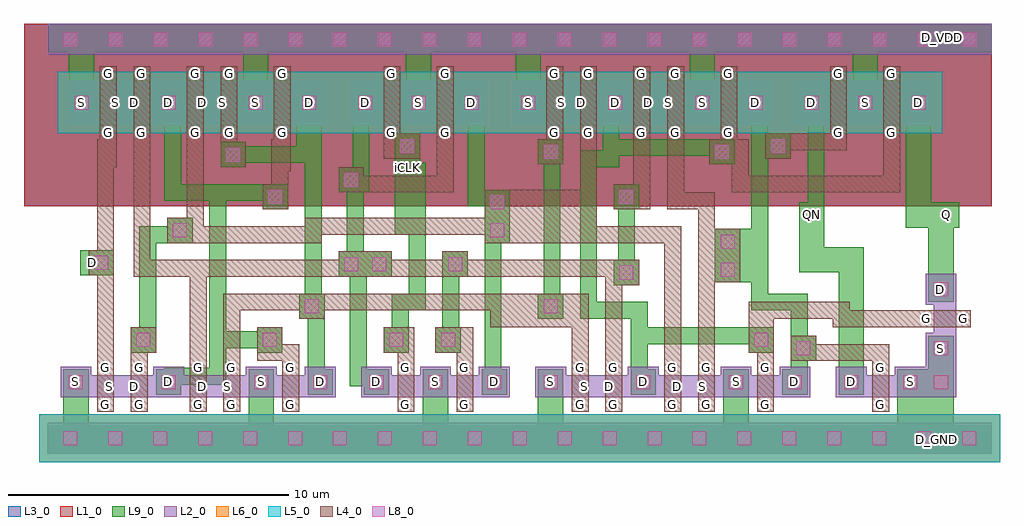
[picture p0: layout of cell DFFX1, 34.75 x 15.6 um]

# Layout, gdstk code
import gdstk
lib = gdstk.Library(unit=1e-6, precision=1e-09)
def R(c, l, rs):  # rectangles x0, y0, x1, y1
    for r in rs: c.add(gdstk.rectangle(r[:2], r[2:], *l))
def A(c, l, x, y, w, h, nx, ny, dx, dy):  # array of equal rectangles
    R(c, l, [(x+i*dx, y+j*dy, x+i*dx+w, y+j*dy+h) for i in range(nx) for j in range(ny)])
def P(c, l, *ps):  # polygons
    for p in ps: c.add(gdstk.Polygon(p, *l))
L1_0 = (1, 0)
L2_0 = (2, 0)
L3_0 = (3, 0)
L4_0 = (4, 0)
L5_0 = (5, 0)
L6_0 = (6, 0)
L8_0 = (8, 0)
L9_0 = (9, 0)

dffx1 = lib.new_cell('DFFX1')
A(dffx1, L1_0, 0, 8.8, 1.6, 6.5, 21, 1, 1.6, 0)
R(dffx1, L1_0, [(-0.85,8.8,0,15.3), (-0.85,10.2,5.15,14.8), (0.35,10.2,6.35,14.8), (2.25,10.2,8.25,14.8), (3.45,10.2,9.45,14.8), (5.35,10.2,11.35,14.8), (9.25,10.2,15.25,14.8), (11.15,10.2,17.15,14.8), (15.05,10.2,21.05,14.8), (16.25,10.2,22.25,14.8), (18.15,10.2,24.15,14.8), (19.35,10.2,25.35,14.8), (21.25,10.2,27.25,14.8), (25.15,10.2,31.15,14.8), (27.05,10.2,33.05,14.8)])
A(dffx1, L2_0, 0, 0, 1.6, 1.1, 21, 2, 1.6, 14.2)
R(dffx1, L2_0, [(0.45,2,1.55,3.1), (1.55,2,2.55,2.8), (1.65,2,2.75,2.8), (2.55,2,3.65,2.8), (2.75,2,3.75,2.8), (3.75,2,4.85,3.1), (3.75,2,4.85,3.1), (4.85,2,5.85,2.8), (4.95,2,6.05,2.8), (5.85,2,6.95,2.8), (6.05,2,7.05,2.8), (7.05,2,8.15,3.1), (7.05,2,8.15,3.1), (8.15,2,9.15,2.8), (9.15,2,10.25,3.1), (11.15,2,12.25,3.1), (12.25,2,13.25,2.8), (13.25,2,14.35,3.1), (13.25,2,14.35,3.1), (14.35,2,15.35,2.8), (15.35,2,16.45,3.1), (17.35,2,18.45,3.1), (18.45,2,19.45,2.8), (18.55,2,19.65,2.8), (19.45,2,20.55,2.8), (19.65,2,20.65,2.8), (20.65,2,21.75,3.1), (20.65,2,21.75,3.1), (21.75,2,22.75,2.8), (21.85,2,22.95,2.8), (22.75,2,23.85,2.8), (22.95,2,23.95,2.8), (23.95,2,25.05,3.1), (23.95,2,25.05,3.1), (25.05,2,26.05,2.8), (26.05,2,27.15,3.1), (28.05,2,29.15,3.1), (29.15,2,30.15,2.8), (30.15,2,31.25,3.1), (31.25,2,32.35,3.1), (31.25,2,32.35,3.2), (31.25,3.2,32.35,4.3), (31.55,4.3,32.35,5.3), (31.25,5.3,32.35,6.4), (0.65,11.7,1.75,13.3), (1.75,11.7,2.55,13.3), (1.85,11.7,2.95,13.3), (2.55,11.7,3.65,13.3), (2.95,11.7,3.75,13.3), (3.75,11.7,4.85,13.3), (3.75,11.7,4.85,13.3), (4.85,11.7,5.65,13.3), (4.95,11.7,6.05,13.3), (5.65,11.7,6.75,13.3), (6.05,11.7,6.85,13.3), (6.85,11.7,7.95,13.3), (6.85,11.7,7.95,13.3), (7.95,11.7,8.75,13.3), (8.75,11.7,9.85,13.3), (10.75,11.7,11.85,13.3), (11.85,11.7,12.65,13.3), (12.65,11.7,13.75,13.3), (12.65,11.7,13.75,13.3), (13.75,11.7,14.55,13.3), (14.55,11.7,15.65,13.3), (16.55,11.7,17.65,13.3), (17.65,11.7,18.45,13.3), (17.75,11.7,18.85,13.3), (18.45,11.7,19.55,13.3), (18.85,11.7,19.65,13.3), (19.65,11.7,20.75,13.3), (19.65,11.7,20.75,13.3), (20.75,11.7,21.55,13.3), (20.85,11.7,21.95,13.3), (21.55,11.7,22.65,13.3), (21.95,11.7,22.75,13.3), (22.75,11.7,23.85,13.3), (22.75,11.7,23.85,13.3), (23.85,11.7,24.65,13.3), (24.65,11.7,25.75,13.3), (26.65,11.7,27.75,13.3), (27.75,11.7,28.55,13.3), (28.55,11.7,29.65,13.3), (28.55,11.7,29.65,13.3), (29.65,11.7,30.45,13.3), (30.45,11.7,31.55,13.3)])
A(dffx1, L3_0, 0, 8.8, 1.6, 6.5, 21, 1, 1.6, 0)
R(dffx1, L3_0, [(-0.85,8.8,0,15.3), (-0.85,10.2,5.15,14.8), (0.35,10.2,6.35,14.8), (2.25,10.2,8.25,14.8), (3.45,10.2,9.45,14.8), (5.35,10.2,11.35,14.8), (9.25,10.2,15.25,14.8), (11.15,10.2,17.15,14.8), (15.05,10.2,21.05,14.8), (16.25,10.2,22.25,14.8), (18.15,10.2,24.15,14.8), (19.35,10.2,25.35,14.8), (21.25,10.2,27.25,14.8), (25.15,10.2,31.15,14.8), (27.05,10.2,33.05,14.8)])
A(dffx1, L4_0, 2.95, 3.6, 0.9, 0.9, 3, 1, 4.5, 0)
R(dffx1, L4_0, [(1.75,1.5,2.35,3.3), (1.75,1.5,2.35,2), (2.95,1.5,3.55,3.3), (2.95,1.5,3.55,2), (5.05,1.5,5.65,3.3), (5.05,1.5,5.65,2), (6.25,1.5,6.85,3.3), (6.25,1.5,6.85,2), (8.35,1.5,8.95,3.3), (8.35,1.5,8.95,2), (12.45,1.5,13.05,3.3), (12.45,1.5,13.05,2), (14.55,1.5,15.15,3.3), (14.55,1.5,15.15,2), (18.65,1.5,19.25,3.3), (18.65,1.5,19.25,2), (19.85,1.5,20.45,3.3), (19.85,1.5,20.45,2), (21.95,1.5,22.55,3.3), (21.95,1.5,22.55,2), (23.15,1.5,23.75,3.3), (23.15,1.5,23.75,2), (25.25,1.5,25.85,3.3), (25.25,1.5,25.85,2), (29.35,1.5,29.95,3.3), (29.35,1.5,29.95,2), (1.75,2.8,2.35,3.3), (2.95,2.8,3.55,3.3), (5.05,2.8,5.65,3.3), (6.25,2.8,6.85,3.3), (8.35,2.8,8.95,3.3), (12.45,2.8,13.05,3.3), (14.55,2.8,15.15,3.3), (18.65,2.8,19.25,3.3), (19.85,2.8,20.45,3.3), (21.95,2.8,22.55,3.3), (23.15,2.8,23.75,3.3), (25.25,2.8,25.85,3.3), (29.35,2.8,29.95,3.3), (12.45,3.2,13.05,4.5), (2.95,3.3,3.55,4.5), (5.05,3.3,5.65,6.3), (7.45,3.3,8.95,3.9), (14.55,3.3,15.15,4.5), (25.25,3.3,25.85,4.25), (26.45,3.3,27.35,4.2), (27.35,3.3,29.95,3.9), (13.8,3.6,14.7,4.5), (24.95,3.6,25.85,4.5), (31.05,4.5,32.85,5.1), (31.05,4.5,31.55,5.1), (32.35,4.5,32.85,5.1), (8.95,4.8,9.85,5.7), (17.45,4.8,18.35,5.7), (20.15,6,21.05,6.9), (23.75,6.1,24.65,7), (10.35,6.3,11.25,7.2), (11.25,6.3,11.35,7.2), (11.35,6.3,12.25,7.2), (14.05,6.3,14.95,7.2), (1.45,6.35,2.35,7.25), (23.75,7,24.65,7.1), (23.75,7.1,24.65,8), (4.25,7.5,5.15,8.4), (15.55,7.5,16.45,8.4), (16.45,8.1,19.55,8.8), (15.55,8.4,16.45,8.5), (15.55,8.5,16.45,9.4), (7.65,8.7,8.55,9.6), (20.15,8.7,21.05,9.6), (20.85,8.7,21.45,11.2), (10.35,9.3,11.25,10.2), (6.15,10.2,7.05,11.1), (6.15,10.25,6.75,11.85), (17.45,10.3,18.35,11.2), (23.55,10.3,24.45,11.2), (23.95,10.3,24.55,11.2), (11.95,10.5,12.55,11.5), (12.35,10.5,13.25,11.4), (25.55,10.5,26.45,11.4), (26.4,10.8,28.45,11.4), (1.85,11.2,2.45,11.7), (1.85,11.2,2.45,13.8), (3.05,11.2,3.65,11.7), (3.05,11.2,3.65,13.8), (4.95,11.2,5.55,11.7), (4.95,11.2,5.55,13.8), (6.15,11.2,6.75,11.7), (6.15,11.2,6.75,13.8), (8.05,11.2,8.65,11.7), (8.05,11.2,8.65,13.8), (11.95,11.2,12.55,11.7), (11.95,11.2,12.55,13.8), (13.85,11.2,14.45,11.7), (13.85,11.2,14.45,13.8), (17.75,11.2,18.35,11.7), (17.75,11.2,18.35,13.8), (18.95,11.2,19.55,11.7), (18.95,11.2,19.55,13.8), (20.85,11.2,21.45,11.7), (20.85,11.2,21.45,13.8), (22.05,11.2,22.65,11.7), (22.05,11.2,22.65,13.8), (23.95,11.2,24.55,11.7), (23.95,11.2,24.55,13.8), (27.85,11.2,28.45,11.7), (27.85,11.2,28.45,13.8), (29.75,11.2,30.35,11.7), (29.75,11.2,30.35,13.8), (1.85,13.3,2.45,13.8), (3.05,13.3,3.65,13.8), (4.95,13.3,5.55,13.8), (6.15,13.3,6.75,13.8), (8.05,13.3,8.65,13.8), (11.95,13.3,12.55,13.8), (13.85,13.3,14.45,13.8), (17.75,13.3,18.35,13.8), (18.95,13.3,19.55,13.8), (20.85,13.3,21.45,13.8), (22.05,13.3,22.65,13.8), (23.95,13.3,24.55,13.8), (27.85,13.3,28.45,13.8), (29.75,13.3,30.35,13.8)])
P(dffx1, L4_0, [(4.9,7.5),(9.75,7.5),(9.75,7.8),(15.55,7.8),(15.55,8.4),(9.15,8.4),(9.15,8.1),(5.55,8.1),(5.55,11.2),(4.95,11.2),(4.95,8.1),(4.9,8.1)],
  [(9.85,5.1),(15.75,5.1),(15.75,4.5),(18.65,4.5),(18.65,3.3),(19.25,3.3),(19.25,5.7),(9.85,5.7)],
  [(1.75,3.3),(2.35,3.3),(2.35,10.2),(2.45,10.2),(2.45,11.2),(1.75,11.2)],
  [(7.95,9.6),(8.55,9.6),(8.55,10.05),(8.65,10.05),(8.65,11.2),(7.95,11.2)],
  [(6.25,3.3),(6.85,3.3),(6.85,5.1),(9.75,5.1),(9.75,5.7),(6.25,5.7)],
  [(11.25,9.3),(14.45,9.3),(14.45,11.2),(13.85,11.2),(13.85,9.9),(11.25,9.9)],
  [(3.05,6.3),(11.45,6.3),(11.45,6.9),(3.65,6.9),(3.65,11.2),(3.05,11.2)],
  [(12.25,6.3),(19.85,6.3),(19.85,3.3),(20.45,3.3),(20.45,6.9),(12.25,6.9)],
  [(16.45,8.8),(19.55,8.8),(19.55,11.2),(18.95,11.2),(18.95,9.4),(16.45,9.4)],
  [(16.45,7.5),(21.95,7.5),(21.95,3.3),(22.55,3.3),(22.55,8.1),(16.45,8.1)],
  [(22.05,8.7),(23.15,8.7),(23.15,3.3),(23.75,3.3),(23.75,9.3),(22.65,9.3),(22.65,11.2),(22.05,11.2)],
  [(24.35,9.3),(30.35,9.3),(30.35,11.2),(29.75,11.2),(29.75,9.9),(24.95,9.9),(24.95,11.2),(24.35,11.2)],
  [(24.95,4.5),(25.85,4.5),(25.85,4.8),(27.95,4.8),(27.95,4.5),(31.05,4.5),(31.05,5.1),(28.55,5.1),(28.55,5.4),(24.95,5.4)])
A(dffx1, L5_0, 1.6, -0.3, 1.6, 1.7, 19, 1, 1.6, 0)
R(dffx1, L5_0, [(-0.3,-0.3,1.6,1.4), (32,-0.3,33.9,1.4), (0.35,11.4,3.95,13.6), (1.55,11.4,5.15,13.6), (3.45,11.4,7.05,13.6), (4.65,11.4,8.25,13.6), (6.55,11.4,10.15,13.6), (10.15,11.4,10.45,13.6), (10.45,11.4,14.05,13.6), (12.35,11.4,15.95,13.6), (15.95,11.4,16.25,13.6), (16.25,11.4,19.85,13.6), (17.45,11.4,21.05,13.6), (19.35,11.4,22.95,13.6), (20.55,11.4,24.15,13.6), (22.45,11.4,26.05,13.6), (26.05,11.4,26.35,13.6), (26.35,11.4,29.95,13.6), (28.25,11.4,31.85,13.6)])
A(dffx1, L6_0, 1.6, -0.3, 1.6, 1.7, 19, 1, 1.6, 0)
R(dffx1, L6_0, [(-0.3,-0.3,1.6,1.4), (32,-0.3,33.9,1.4), (0.35,11.4,3.95,13.6), (1.55,11.4,5.15,13.6), (3.45,11.4,7.05,13.6), (4.65,11.4,8.25,13.6), (6.55,11.4,10.15,13.6), (10.15,11.4,10.45,13.6), (10.45,11.4,14.05,13.6), (12.35,11.4,15.95,13.6), (15.95,11.4,16.25,13.6), (16.25,11.4,19.85,13.6), (17.45,11.4,21.05,13.6), (19.35,11.4,22.95,13.6), (20.55,11.4,24.15,13.6), (22.45,11.4,26.05,13.6), (26.05,11.4,26.35,13.6), (26.35,11.4,29.95,13.6), (28.25,11.4,31.85,13.6)])
A(dffx1, L8_0, 0.55, 0.3, 0.5, 0.5, 21, 2, 1.6, 14.2)
A(dffx1, L8_0, 3.15, 3.8, 0.5, 0.5, 3, 1, 4.5, 0)
R(dffx1, L8_0, [(0.75,2.3,1.25,2.8), (4.05,2.3,4.55,2.8), (4.05,2.3,4.55,2.8), (7.35,2.3,7.85,2.8), (7.35,2.3,7.85,2.8), (9.45,2.3,9.95,2.8), (11.45,2.3,11.95,2.8), (13.55,2.3,14.05,2.8), (13.55,2.3,14.05,2.8), (15.65,2.3,16.15,2.8), (17.65,2.3,18.15,2.8), (20.95,2.3,21.45,2.8), (20.95,2.3,21.45,2.8), (24.25,2.3,24.75,2.8), (24.25,2.3,24.75,2.8), (26.35,2.3,26.85,2.8), (28.35,2.3,28.85,2.8), (30.45,2.3,30.95,2.8), (31.55,2.3,32.05,2.8), (26.65,3.5,27.15,4), (31.55,3.5,32.05,4), (14,3.8,14.5,4.3), (25.15,3.8,25.65,4.3), (9.15,5,9.65,5.5), (17.65,5,18.15,5.5), (31.55,5.6,32.05,6.1), (20.35,6.2,20.85,6.7), (23.95,6.3,24.45,6.8), (10.55,6.5,11.05,7), (11.55,6.5,12.05,7), (14.25,6.5,14.75,7), (1.65,6.55,2.15,7.05), (23.95,7.3,24.45,7.8), (4.45,7.7,4.95,8.2), (15.75,7.7,16.25,8.2), (15.75,8.7,16.25,9.2), (7.85,8.9,8.35,9.4), (20.35,8.9,20.85,9.4), (10.55,9.5,11.05,10), (6.35,10.4,6.85,10.9), (17.65,10.5,18.15,11), (23.75,10.5,24.25,11), (12.55,10.7,13.05,11.2), (25.75,10.7,26.25,11.2), (0.95,12.25,1.45,12.75), (4.05,12.25,4.55,12.75), (4.05,12.25,4.55,12.75), (7.15,12.25,7.65,12.75), (7.15,12.25,7.65,12.75), (9.05,12.25,9.55,12.75), (11.05,12.25,11.55,12.75), (12.95,12.25,13.45,12.75), (12.95,12.25,13.45,12.75), (14.85,12.25,15.35,12.75), (16.85,12.25,17.35,12.75), (19.95,12.25,20.45,12.75), (19.95,12.25,20.45,12.75), (23.05,12.25,23.55,12.75), (23.05,12.25,23.55,12.75), (24.95,12.25,25.45,12.75), (26.95,12.25,27.45,12.75), (28.85,12.25,29.35,12.75), (28.85,12.25,29.35,12.75), (30.75,12.25,31.25,12.75)])
A(dffx1, L9_0, 0, 0, 1.6, 1, 21, 2, 1.6, 14.3)
A(dffx1, L9_0, 2.95, 3.6, 0.9, 0.9, 3, 1, 4.5, 0)
R(dffx1, L9_0, [(31.2,0.05,32.1,0.95), (0.55,0.1,1.45,3), (13.35,0.1,14.25,3), (24.05,0.1,24.95,3), (30.25,0.95,32.25,2.1), (0.55,2.1,1.45,3), (3.85,2.1,4.75,3), (3.85,2.1,4.75,3), (7.15,2.1,8.05,3), (7.15,2.1,8.05,3), (9.25,2.1,10.15,3), (11.25,2.1,12.15,3), (13.35,2.1,14.25,3), (13.35,2.1,14.25,3), (15.45,2.1,16.35,3), (17.45,2.1,18.35,3), (20.75,2.1,21.65,3), (20.75,2.1,21.65,3), (24.05,2.1,24.95,3), (24.05,2.1,24.95,3), (26.15,2.1,27.05,3), (28.15,2.1,29.05,3), (30.25,2.1,31.15,3), (31.35,2.1,32.25,3), (9.25,2.4,9.85,5.4), (15.55,2.4,16.15,8.1), (26.45,3.3,27.35,4.2), (31.35,3.3,32.25,4.2), (13.8,3.6,14.7,4.5), (24.95,3.6,25.85,4.5), (5.75,3.75,8.05,4.35), (14.05,3.9,14.65,6.9), (20.75,3.9,25.55,4.5), (8.95,4.8,9.85,5.7), (17.45,4.8,18.35,5.7), (9.15,5.1,9.75,12.6), (17.65,5.1,18.25,10.9), (31.35,5.4,32.25,6.3), (31.35,5.4,32.25,8.95), (20.15,6,21.05,6.9), (23.75,6.1,24.65,7), (24.65,6.1,25.05,8), (10.35,6.3,11.25,7.2), (11.25,6.3,11.35,7.2), (11.35,6.3,12.25,7.2), (14.05,6.3,14.95,7.2), (20.3,6.3,20.9,9.3), (1.15,6.35,2.05,7.25), (1.45,6.35,2.35,7.25), (10.65,6.6,11.25,9.9), (23.75,7,24.65,7.1), (23.75,7.1,24.65,8), (4.25,7.5,5.15,8.4), (15.55,7.5,16.45,8.4), (12.35,7.8,12.95,9.75), (26.75,8.05,27.65,8.95), (31.35,8.05,32.45,8.95), (31.55,8.05,32.45,8.95), (27.05,8.35,27.65,12.6), (15.55,8.4,16.45,8.5), (15.55,8.5,16.45,9.4), (7.65,8.7,8.55,9.6), (20.15,8.7,21.05,9.6), (5.75,9,8.25,9.6), (10.35,9.3,11.25,10.2), (12.35,9.75,13.25,10.65), (6.15,10.2,7.05,11.1), (17.45,10.3,18.35,11.2), (23.55,10.3,24.45,11.2), (6.45,10.35,9.75,10.95), (12.35,10.5,13.25,11.4), (25.55,10.5,26.45,11.4), (19.75,10.6,24.25,11.2), (8.85,10.95,9.15,12), (0.75,12,1.65,13), (3.85,12,4.75,13), (3.85,12,4.75,13), (6.95,12,7.85,13), (6.95,12,7.85,13), (8.85,12,9.75,13), (10.85,12,11.75,13), (12.75,12,13.65,13), (12.75,12,13.65,13), (14.65,12,15.55,13), (16.65,12,17.55,13), (19.75,12,20.65,13), (19.75,12,20.65,13), (22.85,12,23.75,13), (22.85,12,23.75,13), (24.75,12,25.65,13), (26.75,12,27.65,13), (28.65,12,29.55,13), (28.65,12,29.55,13), (30.55,12,31.45,13), (6.95,12.1,7.85,15.2), (16.65,12.1,17.55,15.2), (22.85,12.1,23.75,15.2), (31.4,14.35,32.3,15.25)])
P(dffx1, L9_0, [(31.35,3.3),(31.35,3),(31.15,3),(31.15,2.1),(32.25,2.1),(32.25,3.3)],
  [(3.25,3.9),(3.85,3.9),(3.85,7.5),(4.85,7.5),(4.85,8.1),(3.25,8.1)],
  [(4.15,2.4),(4.75,2.4),(4.75,2.45),(6.35,2.45),(6.35,9.6),(5.75,9.6),(5.75,3.05),(4.15,3.05)],
  [(4.15,9),(6.35,9),(6.35,9.6),(4.75,9.6),(4.75,12.6),(4.15,12.6)],
  [(7.15,0.1),(8.9,0.1),(8.9,1),(8.05,1),(8.05,3),(7.15,3)],
  [(0.75,12.1),(1.65,12.1),(1.65,14.3),(2.5,14.3),(2.5,15.2),(0.75,15.2)],
  [(12.25,3.9),(12.85,3.9),(12.85,5.1),(13.45,5.1),(13.45,10.35),(12.65,10.35),(12.65,9.75),(12.85,9.75),(12.85,5.7),(12.25,5.7)],
  [(11.9,14.3),(12.75,14.3),(12.75,12.1),(13.65,12.1),(13.65,15.2),(11.9,15.2)],
  [(10.75,2.4),(11.85,2.4),(11.85,3),(11.35,3),(11.35,6.9),(10.75,6.9)],
  [(10.65,9.3),(11.45,9.3),(11.45,12.6),(10.85,12.6),(10.85,9.9),(10.65,9.9)],
  [(14.95,8.8),(16.15,8.8),(16.15,9.4),(15.55,9.4),(15.55,12.6),(14.95,12.6)],
  [(16.7,0.1),(18.35,0.1),(18.35,3),(17.45,3),(17.45,1),(16.7,1)],
  [(18.95,4.8),(20.75,4.8),(20.75,2.4),(21.35,2.4),(21.35,5.4),(19.55,5.4),(19.55,10.2),(20.35,10.2),(20.35,12.6),(19.75,12.6),(19.75,10.8),(18.95,10.8)],
  [(25.05,5.1),(26.45,5.1),(26.45,2.4),(27.05,2.4),(27.05,5.7),(25.65,5.7),(25.65,12.6),(25.05,12.6)],
  [(27.9,14.3),(28.65,14.3),(28.65,12.1),(29.55,12.1),(29.55,15.2),(27.9,15.2)],
  [(26.75,6.45),(28.15,6.45),(28.15,2.1),(29.05,2.1),(29.05,7.35),(27.65,7.35),(27.65,8.95),(26.75,8.95)],
  [(30.55,8.05),(32.25,8.05),(32.25,8.95),(31.45,8.95),(31.45,12.9),(30.55,12.9)])
dffx1.add(gdstk.Label('G', (14.85,1.752), layer=4, texttype=0))
dffx1.add(gdstk.Label('G', (14.85,3.052), layer=4, texttype=0))
dffx1.add(gdstk.Label('S', (13.799,2.551), layer=9, texttype=0))
dffx1.add(gdstk.Label('D', (15.899,2.551), layer=9, texttype=0))
dffx1.add(gdstk.Label('G', (12.75,1.752), layer=4, texttype=0))
dffx1.add(gdstk.Label('G', (12.75,3.052), layer=4, texttype=0))
dffx1.add(gdstk.Label('S', (13.801,2.551), layer=9, texttype=0))
dffx1.add(gdstk.Label('D', (11.701,2.551), layer=9, texttype=0))
dffx1.add(gdstk.Label('G', (14.15,11.452), layer=4, texttype=0))
dffx1.add(gdstk.Label('G', (14.15,13.552), layer=4, texttype=0))
dffx1.add(gdstk.Label('S', (13.199,12.501), layer=9, texttype=0))
dffx1.add(gdstk.Label('D', (15.099,12.501), layer=9, texttype=0))
dffx1.add(gdstk.Label('G', (12.25,11.452), layer=4, texttype=0))
dffx1.add(gdstk.Label('G', (12.25,13.552), layer=4, texttype=0))
dffx1.add(gdstk.Label('S', (13.201,12.501), layer=9, texttype=0))
dffx1.add(gdstk.Label('D', (11.301,12.501), layer=9, texttype=0))
dffx1.add(gdstk.Label('G', (29.65,1.752), layer=4, texttype=0))
dffx1.add(gdstk.Label('G', (29.65,3.052), layer=4, texttype=0))
dffx1.add(gdstk.Label('S', (30.701,2.551), layer=9, texttype=0))
dffx1.add(gdstk.Label('D', (28.601,2.551), layer=9, texttype=0))
dffx1.add(gdstk.Label('D', (22.401,2.401), layer=2, texttype=0))
dffx1.add(gdstk.Label('G', (23.45,1.752), layer=4, texttype=0))
dffx1.add(gdstk.Label('G', (23.45,3.052), layer=4, texttype=0))
dffx1.add(gdstk.Label('S', (24.501,2.551), layer=9, texttype=0))
dffx1.add(gdstk.Label('D', (19.999,2.401), layer=2, texttype=0))
dffx1.add(gdstk.Label('G', (18.95,1.752), layer=4, texttype=0))
dffx1.add(gdstk.Label('G', (18.95,3.052), layer=4, texttype=0))
dffx1.add(gdstk.Label('S', (17.899,2.551), layer=9, texttype=0))
dffx1.add(gdstk.Label('D', (5.501,2.401), layer=2, texttype=0))
dffx1.add(gdstk.Label('G', (6.55,1.752), layer=4, texttype=0))
dffx1.add(gdstk.Label('G', (6.55,3.052), layer=4, texttype=0))
dffx1.add(gdstk.Label('S', (7.601,2.551), layer=9, texttype=0))
dffx1.add(gdstk.Label('D', (3.099,2.401), layer=2, texttype=0))
dffx1.add(gdstk.Label('G', (2.05,1.752), layer=4, texttype=0))
dffx1.add(gdstk.Label('G', (2.05,3.052), layer=4, texttype=0))
dffx1.add(gdstk.Label('S', (0.999,2.551), layer=9, texttype=0))
dffx1.add(gdstk.Label('G', (28.15,11.452), layer=4, texttype=0))
dffx1.add(gdstk.Label('G', (28.15,13.552), layer=4, texttype=0))
dffx1.add(gdstk.Label('S', (29.101,12.501), layer=9, texttype=0))
dffx1.add(gdstk.Label('D', (27.201,12.501), layer=9, texttype=0))
dffx1.add(gdstk.Label('G', (25.55,1.752), layer=4, texttype=0))
dffx1.add(gdstk.Label('G', (25.55,3.052), layer=4, texttype=0))
dffx1.add(gdstk.Label('S', (24.499,2.551), layer=9, texttype=0))
dffx1.add(gdstk.Label('D', (26.599,2.551), layer=9, texttype=0))
dffx1.add(gdstk.Label('G', (22.25,1.752), layer=4, texttype=0))
dffx1.add(gdstk.Label('G', (22.25,3.052), layer=4, texttype=0))
dffx1.add(gdstk.Label('S', (23.301,2.401), layer=2, texttype=0))
dffx1.add(gdstk.Label('D', (21.201,2.551), layer=9, texttype=0))
dffx1.add(gdstk.Label('G', (20.15,1.752), layer=4, texttype=0))
dffx1.add(gdstk.Label('G', (20.15,3.052), layer=4, texttype=0))
dffx1.add(gdstk.Label('S', (19.099,2.401), layer=2, texttype=0))
dffx1.add(gdstk.Label('D', (21.199,2.551), layer=9, texttype=0))
dffx1.add(gdstk.Label('G', (8.65,1.752), layer=4, texttype=0))
dffx1.add(gdstk.Label('G', (8.65,3.052), layer=4, texttype=0))
dffx1.add(gdstk.Label('S', (7.599,2.551), layer=9, texttype=0))
dffx1.add(gdstk.Label('D', (9.699,2.551), layer=9, texttype=0))
dffx1.add(gdstk.Label('G', (5.35,1.752), layer=4, texttype=0))
dffx1.add(gdstk.Label('G', (5.35,3.052), layer=4, texttype=0))
dffx1.add(gdstk.Label('S', (6.401,2.401), layer=2, texttype=0))
dffx1.add(gdstk.Label('D', (4.301,2.551), layer=9, texttype=0))
dffx1.add(gdstk.Label('G', (3.25,1.752), layer=4, texttype=0))
dffx1.add(gdstk.Label('G', (3.25,3.052), layer=4, texttype=0))
dffx1.add(gdstk.Label('S', (2.199,2.401), layer=2, texttype=0))
dffx1.add(gdstk.Label('D', (4.299,2.551), layer=9, texttype=0))
dffx1.add(gdstk.Label('G', (24.25,11.452), layer=4, texttype=0))
dffx1.add(gdstk.Label('G', (24.25,13.552), layer=4, texttype=0))
dffx1.add(gdstk.Label('S', (23.299,12.501), layer=9, texttype=0))
dffx1.add(gdstk.Label('D', (25.199,12.501), layer=9, texttype=0))
dffx1.add(gdstk.Label('G', (21.15,11.452), layer=4, texttype=0))
dffx1.add(gdstk.Label('G', (21.15,13.552), layer=4, texttype=0))
dffx1.add(gdstk.Label('S', (22.101,12.501), layer=2, texttype=0))
dffx1.add(gdstk.Label('D', (20.201,12.501), layer=9, texttype=0))
dffx1.add(gdstk.Label('G', (19.25,11.452), layer=4, texttype=0))
dffx1.add(gdstk.Label('G', (19.25,13.552), layer=4, texttype=0))
dffx1.add(gdstk.Label('S', (18.299,12.501), layer=2, texttype=0))
dffx1.add(gdstk.Label('D', (20.199,12.501), layer=9, texttype=0))
dffx1.add(gdstk.Label('G', (8.35,11.452), layer=4, texttype=0))
dffx1.add(gdstk.Label('G', (8.35,13.552), layer=4, texttype=0))
dffx1.add(gdstk.Label('S', (7.399,12.501), layer=9, texttype=0))
dffx1.add(gdstk.Label('D', (9.299,12.501), layer=9, texttype=0))
dffx1.add(gdstk.Label('G', (5.25,11.452), layer=4, texttype=0))
dffx1.add(gdstk.Label('G', (5.25,13.552), layer=4, texttype=0))
dffx1.add(gdstk.Label('S', (6.201,12.501), layer=2, texttype=0))
dffx1.add(gdstk.Label('D', (4.301,12.501), layer=9, texttype=0))
dffx1.add(gdstk.Label('G', (3.35,11.452), layer=4, texttype=0))
dffx1.add(gdstk.Label('G', (3.35,13.552), layer=4, texttype=0))
dffx1.add(gdstk.Label('S', (2.399,12.501), layer=2, texttype=0))
dffx1.add(gdstk.Label('D', (4.299,12.501), layer=9, texttype=0))
dffx1.add(gdstk.Label('G', (32.598,4.8), layer=4, texttype=0))
dffx1.add(gdstk.Label('G', (31.298,4.8), layer=4, texttype=0))
dffx1.add(gdstk.Label('S', (31.799,3.749), layer=9, texttype=0))
dffx1.add(gdstk.Label('D', (31.799,5.849), layer=9, texttype=0))
dffx1.add(gdstk.Label('G', (22.35,11.452), layer=4, texttype=0))
dffx1.add(gdstk.Label('G', (22.35,13.552), layer=4, texttype=0))
dffx1.add(gdstk.Label('S', (23.301,12.501), layer=9, texttype=0))
dffx1.add(gdstk.Label('D', (21.401,12.501), layer=2, texttype=0))
dffx1.add(gdstk.Label('G', (18.05,11.452), layer=4, texttype=0))
dffx1.add(gdstk.Label('G', (18.05,13.552), layer=4, texttype=0))
dffx1.add(gdstk.Label('S', (17.099,12.501), layer=9, texttype=0))
dffx1.add(gdstk.Label('D', (18.999,12.501), layer=2, texttype=0))
dffx1.add(gdstk.Label('G', (6.45,11.452), layer=4, texttype=0))
dffx1.add(gdstk.Label('G', (6.45,13.552), layer=4, texttype=0))
dffx1.add(gdstk.Label('S', (7.401,12.501), layer=9, texttype=0))
dffx1.add(gdstk.Label('D', (5.501,12.501), layer=2, texttype=0))
dffx1.add(gdstk.Label('G', (2.15,11.452), layer=4, texttype=0))
dffx1.add(gdstk.Label('G', (2.15,13.552), layer=4, texttype=0))
dffx1.add(gdstk.Label('S', (1.199,12.501), layer=9, texttype=0))
dffx1.add(gdstk.Label('D', (3.099,12.501), layer=2, texttype=0))
dffx1.add(gdstk.Label('G', (30.05,11.452), layer=4, texttype=0))
dffx1.add(gdstk.Label('G', (30.05,13.552), layer=4, texttype=0))
dffx1.add(gdstk.Label('S', (29.099,12.501), layer=9, texttype=0))
dffx1.add(gdstk.Label('D', (30.999,12.501), layer=9, texttype=0))
dffx1.add(gdstk.Label('D', (1.6,6.8), layer=50, texttype=0))
dffx1.add(gdstk.Label('iCLK', (12.8,10.2), layer=50, texttype=0))
dffx1.add(gdstk.Label('QN', (27.2,8.5), layer=50, texttype=0))
dffx1.add(gdstk.Label('Q', (32,8.5), layer=50, texttype=0))
dffx1.add(gdstk.Label('D_VDD', (31.85,14.8), layer=50, texttype=0))
dffx1.add(gdstk.Label('D_GND', (31.65,0.5), layer=50, texttype=0))

lib.write_gds('DFFX1.gds')
